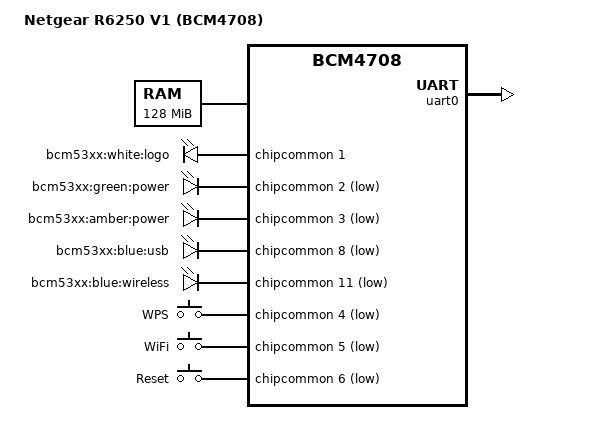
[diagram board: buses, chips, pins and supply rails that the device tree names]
/*
 * Broadcom BCM470X / BCM5301X arm platform code.
 * DTS for Netgear R6250 V1
 *
 * Copyright 2013 Hauke Mehrtens <hauke@hauke-m.de>
 *
 * Licensed under the GNU/GPL. See COPYING for details.
 */

/dts-v1/;

#include "bcm4708.dtsi"
#include "bcm5301x-nand-cs0-bch8.dtsi"

/ {
	compatible = "netgear,r6250v1", "brcm,bcm4708";
	model = "Netgear R6250 V1 (BCM4708)";

	chosen {
		bootargs = "console=ttyS0,115200";
	};

	memory {
		reg = <0x00000000 0x08000000>;
	};

	axi@18000000 {
		usb3@23000 {
			reg = <0x00023000 0x1000>;

			#address-cells = <1>;
			#size-cells = <1>;

			vcc-gpio = <&chipcommon 0 GPIO_ACTIVE_HIGH>;
		};
	};

	leds {
		compatible = "gpio-leds";

		logo {
			label = "bcm53xx:white:logo";
			gpios = <&chipcommon 1 GPIO_ACTIVE_HIGH>;
			linux,default-trigger = "default-on";
		};

		power0 {
			label = "bcm53xx:green:power";
			gpios = <&chipcommon 2 GPIO_ACTIVE_LOW>;
			linux,default-trigger = "default-on";
		};

		power1 {
			label = "bcm53xx:amber:power";
			gpios = <&chipcommon 3 GPIO_ACTIVE_LOW>;
			linux,default-trigger = "default-off";
		};

		usb {
			label = "bcm53xx:blue:usb";
			gpios = <&chipcommon 8 GPIO_ACTIVE_LOW>;
			linux,default-trigger = "default-off";
		};

		wireless {
			label = "bcm53xx:blue:wireless";
			gpios = <&chipcommon 11 GPIO_ACTIVE_LOW>;
			linux,default-trigger = "default-off";
		};
	};

	gpio-keys {
		compatible = "gpio-keys";
		#address-cells = <1>;
		#size-cells = <0>;

		wps {
			label = "WPS";
			linux,code = <KEY_WPS_BUTTON>;
			gpios = <&chipcommon 4 GPIO_ACTIVE_LOW>;
		};

		rfkill {
			label = "WiFi";
			linux,code = <KEY_RFKILL>;
			gpios = <&chipcommon 5 GPIO_ACTIVE_LOW>;
		};

		restart {
			label = "Reset";
			linux,code = <KEY_RESTART>;
			gpios = <&chipcommon 6 GPIO_ACTIVE_LOW>;
		};
	};
};

&uart0 {
	status = "okay";
};
